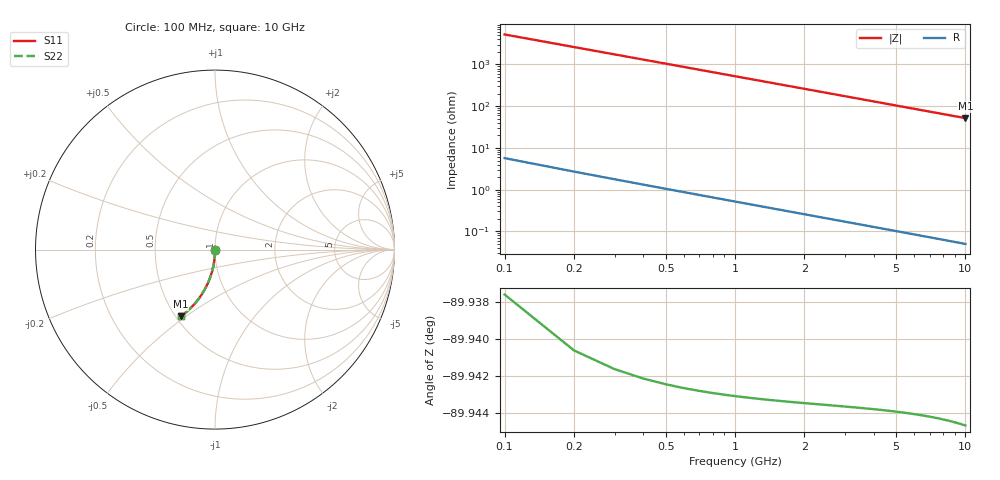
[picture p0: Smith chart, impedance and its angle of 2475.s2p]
# Hz S RI R 50.00
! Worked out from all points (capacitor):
!   100 points, 100 MHz to 10 GHz, reference 50 ohm
!   read as one part in shunt: C = 304 fF near 100 MHz
!   lowest |Z| = 51.9 ohm at 10 GHz (marker M1)
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1e8  1.62e-05 -0.00458  0.9999 -0.00497  0.9999 -0.00497  1.62e-05 -0.00458
2e8  -5.65e-05 -0.00915  0.9999 -0.00995  0.9999 -0.00995  -5.65e-05 -0.00915
3e8  -0.000175 -0.0137  0.9997 -0.0149  0.9997 -0.0149  -0.000175 -0.0137
4e8  -0.000339 -0.0183  0.9996 -0.0199  0.9996 -0.0199  -0.000339 -0.0183
5e8  -0.000548 -0.0229  0.9994 -0.0249  0.9994 -0.0249  -0.000548 -0.0229
6e8  -0.000803 -0.0274  0.9991 -0.0298  0.9991 -0.0298  -0.000803 -0.0274
7e8  -0.0011 -0.032  0.9988 -0.0348  0.9988 -0.0348  -0.0011 -0.032
8e8  -0.00145 -0.0366  0.9985 -0.0398  0.9985 -0.0398  -0.00145 -0.0366
9e8  -0.00184 -0.0411  0.9981 -0.0447  0.9981 -0.0447  -0.00184 -0.0411
1.1e9  -0.00276 -0.0502  0.9971 -0.0546  0.9971 -0.0546  -0.00276 -0.0502
1.4e9  -0.00447 -0.0638  0.9954 -0.0694  0.9954 -0.0694  -0.00447 -0.0638
1.8e9  -0.00739 -0.0819  0.9925 -0.0891  0.9925 -0.0891  -0.00739 -0.0819
2.1e9  -0.01 -0.0953  0.9898 -0.1037  0.9898 -0.1037  -0.01 -0.0953
2.5e9  -0.0142 -0.1131  0.9857 -0.1231  0.9857 -0.1231  -0.0142 -0.1131
2.9e9  -0.019 -0.1306  0.9808 -0.1422  0.9808 -0.1422  -0.019 -0.1306
3.4e9  -0.026 -0.1521  0.9738 -0.1658  0.9738 -0.1658  -0.026 -0.1521
4.2e9  -0.0393 -0.1856  0.9605 -0.2025  0.9605 -0.2025  -0.0393 -0.1856
5.1e9  -0.057 -0.2214  0.9427 -0.242  0.9427 -0.242  -0.057 -0.2214
5.9e9  -0.0751 -0.2514  0.9245 -0.2753  0.9245 -0.2753  -0.0751 -0.2514
6.7e9  -0.095 -0.2795  0.9045 -0.3067  0.9045 -0.3067  -0.095 -0.2795
8.4e9  -0.1424 -0.3322  0.8569 -0.3665  0.8569 -0.3665  -0.1424 -0.3322
1e10  -0.1913 -0.3727  0.8077 -0.4138  0.8077 -0.4138  -0.1913 -0.3727
